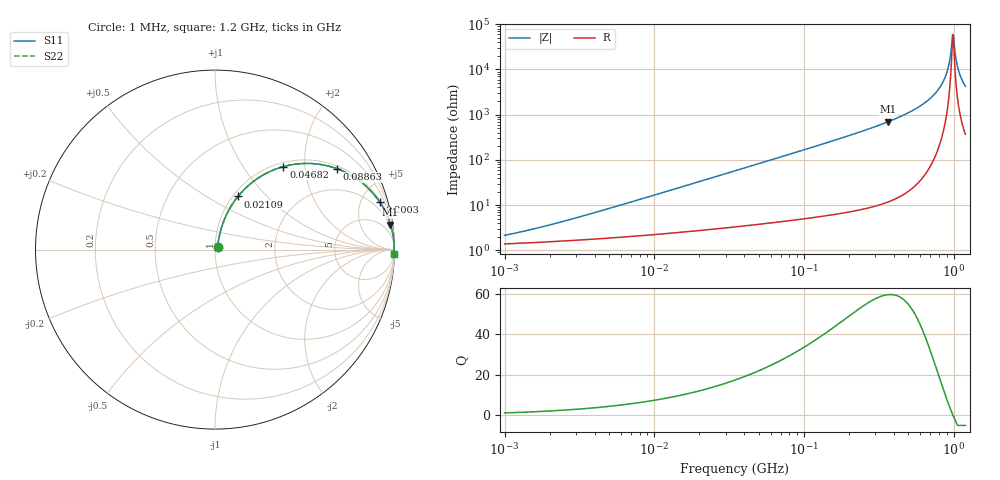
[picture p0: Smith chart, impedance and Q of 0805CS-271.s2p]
# MHz S MA R 50
!Freq  MagS11  AngS11  MagS21  AngS21  MagS12  AngS12  MagS22  AngS22
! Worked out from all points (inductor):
!   801 points, 1 MHz to 1.2 GHz, reference 50 ohm
!   read as one part in series: L = 263 nH near 3.055 MHz
!   highest Q = 59.4 at 365.9 MHz (marker M1), where L = 304 nH
!   self-resonance near 987.4 MHz
!   S11 on the Smith chart (normalised r, x): 1 MHz: 1.03, +0.03; 21.09 MHz: 1.06, +0.70; 46.82 MHz: 1.07, +1.55; 88.63 MHz: 1.09, +2.95; 200.3 MHz: 1.14, +6.90; 1.2 GHz: 8, -85
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1  0.02129 49.0  0.9862 -0.9  0.9862 -0.9  0.02129 49.0
3.279162  0.05578 69.5  0.9818 -3.0  0.9818 -3.0  0.05578 69.5
10.65803  0.1711 72.9  0.9636 -9.8  0.9636 -9.8  0.1711 72.9
21.08861  0.3222 66.7  0.9213 -18.7  0.9213 -18.7  0.3222 66.7
34.64102  0.486 57.7  0.8465 -29.0  0.8465 -29.0  0.486 57.7
46.82263  0.5996 50.5  0.7724 -36.8  0.7724 -36.8  0.5996 50.5
88.63028  0.816 33.5  0.5524 -54.6  0.5524 -54.6  0.816 33.5
113.5935  0.8753 27.4  0.46 -61.0  0.46 -61.0  0.8753 27.4
200.3032  0.9553 16.1  0.2768 -72.8  0.2768 -72.8  0.9553 16.1
365.9472  0.9876 8.1  0.1411 -80.9  0.1411 -80.9  0.9876 8.1
369.2048  0.9879 8.0  0.1395 -81.0  0.1395 -81.0  0.9879 8.0
580.1832  0.9962 3.9  0.06833 -84.9  0.06833 -84.9  0.9962 3.9
763.6308  0.9981 1.8  0.0322 -85.7  0.0322 -85.7  0.9981 1.8
834.3979  0.9984 1.2  0.02117 -85.0  0.02117 -85.0  0.9984 1.2
887.8018  0.9984 0.8  0.01357 -83.0  0.01357 -83.0  0.9984 0.8
928.0277  0.9985 0.5  0.008207 -78.9  0.008207 -78.9  0.9985 0.5
970.0761  0.9984 0.2  0.003093 -59.2  0.003093 -59.2  0.9984 0.2
987.4242  0.9984 0.0  0.00168 -17.4  0.00168 -17.4  0.9984 0.0
1014.03  0.9983 -0.2  0.003194 58.8  0.003194 58.8  0.9983 -0.2
1059.975  0.9982 -0.5  0.008321 77.5  0.008321 77.5  0.9982 -0.5
1098.225  0.9981 -0.7  0.0126 81.0  0.0126 81.0  0.9981 -0.7
1200  0.9977 -1.3  0.02346 83.7  0.02346 83.7  0.9977 -1.3
